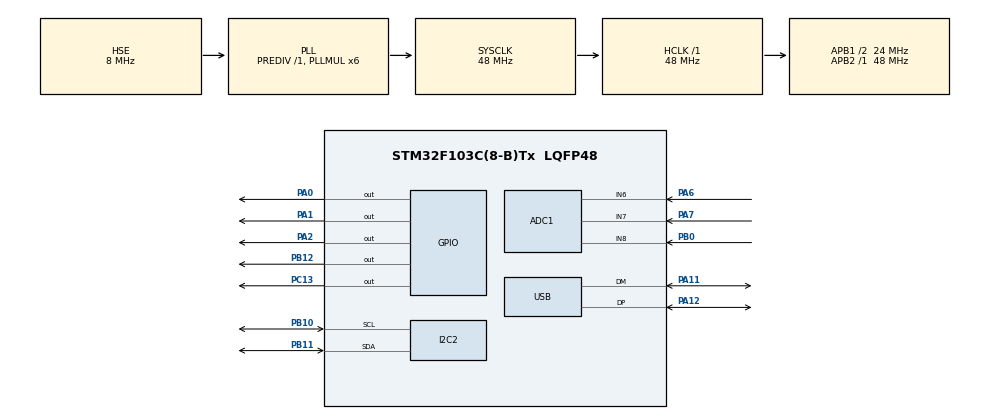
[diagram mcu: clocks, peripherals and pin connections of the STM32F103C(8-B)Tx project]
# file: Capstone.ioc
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ADC1.Channel-0\#ChannelRegularConversion=ADC_CHANNEL_8
ADC1.NbrOfConversionFlag=1
ADC1.Rank-0\#ChannelRegularConversion=1
ADC1.SamplingTime-0\#ChannelRegularConversion=ADC_SAMPLETIME_1CYCLE_5
ADC1.master=1
Mcu.Family=STM32F1
Mcu.Name=STM32F103C(8-B)Tx
Mcu.Package=LQFP48
NVIC.PriorityGroup=NVIC_PRIORITYGROUP_4
NVIC.TIM2_IRQn=true\:0\:0\:false\:false\:true\:true\:true
PA0-WKUP.Signal=GPIO_Output
PA1.Signal=GPIO_Output
PA11.Mode=Device
PA11.Signal=USB_DM
PA12.Mode=Device
PA12.Signal=USB_DP
PA13.Mode=Serial_Wire
PA13.Signal=SYS_JTMS-SWDIO
PA14.Mode=Serial_Wire
PA14.Signal=SYS_JTCK-SWCLK
PA2.Signal=GPIO_Output
PA6.Signal=ADCx_IN6
PA7.Signal=ADCx_IN7
PB0.Signal=ADCx_IN8
PB10.Mode=I2C
PB10.Signal=I2C2_SCL
PB11.Mode=I2C
PB11.Signal=I2C2_SDA
PB12.Signal=GPIO_Output
PC13-TAMPER-RTC.Signal=GPIO_Output
PD0-OSC_IN.Mode=HSE-External-Oscillator
PD0-OSC_IN.Signal=RCC_OSC_IN
PD1-OSC_OUT.Mode=HSE-External-Oscillator
PD1-OSC_OUT.Signal=RCC_OSC_OUT
ProjectManager.HeapSize=0x200
ProjectManager.StackSize=0x400
ProjectManager.TargetToolchain=STM32CubeIDE
RCC.ADCPresc=RCC_ADCPCLK2_DIV4
RCC.AHBFreq_Value=48000000
RCC.APB1CLKDivider=RCC_HCLK_DIV2
RCC.APB1Freq_Value=24000000
RCC.APB1TimFreq_Value=48000000
RCC.APB2Freq_Value=48000000
RCC.APB2TimFreq_Value=48000000
RCC.HCLKFreq_Value=48000000
RCC.PLLMUL=RCC_PLL_MUL6
RCC.SYSCLKFreq_VALUE=48000000
RCC.SYSCLKSource=RCC_SYSCLKSOURCE_PLLCLK
RCC.USBFreq_Value=48000000
SH.ADCx_IN6.0=ADC1_IN6,IN6
SH.ADCx_IN7.0=ADC1_IN7,IN7
SH.ADCx_IN8.0=ADC1_IN8,IN8
TIM2.Period=30000
TIM2.Prescaler=48000-1
VP_TIM2_VS_ClockSourceINT.Mode=Internal
board=custom

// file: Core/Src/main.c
/* USER CODE BEGIN Header */
/**
  ******************************************************************************
  * @file           : main.c
  * @brief          : Main program body
  ******************************************************************************
  * @attention
  *
  * <h2><center>&copy; Copyright (c) 2021 STMicroelectronics.
  * All rights reserved.</center></h2>
  *
  * This software component is licensed by ST under BSD 3-Clause license,
  * the "License"; You may not use this file except in compliance with the
  * License. You may obtain a copy of the License at:
  *                        opensource.org/licenses/BSD-3-Clause
  *
  ******************************************************************************
  */
/* USER CODE END Header */
#include "main.h"

/* USER CODE BEGIN PTD */
typedef enum PHlevels{
	 PH_VeryHigh,
	 PH_High,
	 PH_Good,
	 PH_Low,
	 PH_VeryLow,
}PHlevel;

typedef enum h2oSensors{
	dry,
	wet,
}h2oSensor;

typedef enum PumpM{
	on,
	off,
}MainPump;

typedef enum tempLevels{
	Temp_hot,
	Temp_good,
	Temp_cold,
}tempreture;

typedef enum humidLevels{
	Humid_high,
	Humid_good,
	Humid_low,
}humidity;

typedef enum tdsLevels{
	TDS_Low,
	TDS_Good,
	TDS_High,
}TDSlevel;

/* USER CODE END PTD */

/* USER CODE BEGIN PD */

PHlevel PH;
TDSlevel TDS;
h2oSensor wetness;
tempreture temp;
humidity humid;
TDSlevel TDS;

double setTemp_Level;
double setHumidity_Level;
double setLight_Time;
double setPH_Level;
double setPPM_Level;

double currentPH=20;        //set equal to values that should never be the case to determine if sensors aren't reading
double currentPPM=0;
double currentTemp=0;
double currentHumidity=200;

MainPump state=off;
MainPump pumpa=off;
MainPump pumpb=off;
MainPump pumpc=off;
MainPump pumpd=off;
MainPump light;
int s;
int Tickt;
int min3;

//Tempreture Variables
extern I2C_HandleTypeDef hi2c1;
uint8_t data[3];
uint8_t da[1] = {0xFE};
uint8_t read[2]= {0xE3,0xE5};
uint8_t data1[3];
double tempp;
double hu;
uint16_t sum_temp,sum_humid;
I2C_HandleTypeDef hi2c1;

double enviorment[2];
tempreture tempLevel;
humidity humidLevel;

/* USER CODE END PD */

ADC_HandleTypeDef hadc1;

I2C_HandleTypeDef hi2c2;

TIM_HandleTypeDef htim2;

PCD_HandleTypeDef hpcd_USB_FS;

void SystemClock_Config(void);
static void MX_GPIO_Init(void);
static void MX_ADC1_Init(void);
static void MX_USB_PCD_Init(void);
static void MX_TIM2_Init(void);
static void MX_I2C2_Init(void);
/* USER CODE BEGIN PFP */

double getPH(void);
PHlevel PHtask(double PH_Set);
h2oSensor H2Otask(void);
MainPump PHpumps(void);
MainPump Nutrients(void);
h2oSensor water(void);
void get_TempHumid(void);
tempreture TempTask(double setLevel);
humidity humidTask(double setLevel);
TDSlevel TDStask(double setLevel);

/* USER CODE END PFP */

int main(void)
{

  /* MCU Configuration--------------------------------------------------------*/

  /* Reset of all peripherals, Initializes the Flash interface and the Systick. */
  HAL_Init();

  /* Configure the system clock */
  SystemClock_Config();

  /* Initialize all configured peripherals */
  MX_GPIO_Init();
  MX_ADC1_Init();
  MX_USB_PCD_Init();
  MX_TIM2_Init();
  MX_I2C2_Init();
  /* USER CODE BEGIN 2 */

  HAL_GPIO_WritePin(GPIOA, GPIO_PIN_0,1); //When it starts it turns on Lights
  HAL_GPIO_WritePin(GPIOA, GPIO_PIN_1,1); //When it starts it turns on Lights
  HAL_TIM_Base_Start_IT(&htim2);

  if (HAL_ADC_Start(&hadc1) != HAL_OK)
  {
    /* Calibration Error */
    Error_Handler();
  }

  //preset for tomato plants
  setTemp_Level=73;      //degrees farenheight
  setHumidity_Level=90;  //percent humidity
  setLight_Time=8;       //hours of light
  setPH_Level=6;         //PH
  setPPM_Level=1500;     //Parts per million

  /* USER CODE END 2 */

  /* Infinite loop */
  while (1)
  {

    /* USER CODE BEGIN 3 */

	  wetness=H2Otask();           			 //Checks if Resivoir is full
	  currentPH=getPH();         			 //Gets the PH value
	  PH=PHtask(setPH_Level);     			 //Determines if PH is too High/low
	  PHpumps();                 			 //Pumps to amend PH
//	  water();                    			 //Main pump operation
	  get_TempHumid();            			 //gets tempreture and humidity
	  temp=TempTask(setTemp_Level);          //determines if temp is too high/low
	  humid=humidTask(setHumidity_Level);    //determines if humidity is too high/low
	  TDS=TDStask(setPPM_Level); 			 //determines if TDS (PPM) is too high/low
	  Nutrients();
  }
  /* USER CODE END 3 */
}

void SystemClock_Config(void)
{
  RCC_OscInitTypeDef RCC_OscInitStruct = {0};
  RCC_ClkInitTypeDef RCC_ClkInitStruct = {0};
  RCC_PeriphCLKInitTypeDef PeriphClkInit = {0};

  /** Initializes the RCC Oscillators according to the specified parameters
  * in the RCC_OscInitTypeDef structure.
  */
  RCC_OscInitStruct.OscillatorType = RCC_OSCILLATORTYPE_HSE;
  RCC_OscInitStruct.HSEState = RCC_HSE_ON;
  RCC_OscInitStruct.HSEPredivValue = RCC_HSE_PREDIV_DIV1;
  RCC_OscInitStruct.HSIState = RCC_HSI_ON;
  RCC_OscInitStruct.PLL.PLLState = RCC_PLL_ON;
  RCC_OscInitStruct.PLL.PLLSource = RCC_PLLSOURCE_HSE;
  RCC_OscInitStruct.PLL.PLLMUL = RCC_PLL_MUL6;
  if (HAL_RCC_OscConfig(&RCC_OscInitStruct) != HAL_OK)
  {
    Error_Handler();
  }
  /** Initializes the CPU, AHB and APB buses clocks
  */
  RCC_ClkInitStruct.ClockType = RCC_CLOCKTYPE_HCLK|RCC_CLOCKTYPE_SYSCLK
                              |RCC_CLOCKTYPE_PCLK1|RCC_CLOCKTYPE_PCLK2;
  RCC_ClkInitStruct.SYSCLKSource = RCC_SYSCLKSOURCE_PLLCLK;
  RCC_ClkInitStruct.AHBCLKDivider = RCC_SYSCLK_DIV1;
  RCC_ClkInitStruct.APB1CLKDivider = RCC_HCLK_DIV2;
  RCC_ClkInitStruct.APB2CLKDivider = RCC_HCLK_DIV1;

  if (HAL_RCC_ClockConfig(&RCC_ClkInitStruct, FLASH_LATENCY_1) != HAL_OK)
  {
    Error_Handler();
  }
  PeriphClkInit.PeriphClockSelection = RCC_PERIPHCLK_ADC|RCC_PERIPHCLK_USB;
  PeriphClkInit.AdcClockSelection = RCC_ADCPCLK2_DIV4;
  PeriphClkInit.UsbClockSelection = RCC_USBCLKSOURCE_PLL;
  if (HAL_RCCEx_PeriphCLKConfig(&PeriphClkInit) != HAL_OK)
  {
    Error_Handler();
  }
}

static void MX_ADC1_Init(void)
{

  ADC_ChannelConfTypeDef sConfig = {0};

  /** Common config
  */
  hadc1.Instance = ADC1;
  hadc1.Init.ScanConvMode = ADC_SCAN_DISABLE;
  hadc1.Init.ContinuousConvMode = DISABLE;
  hadc1.Init.DiscontinuousConvMode = DISABLE;
  hadc1.Init.ExternalTrigConv = ADC_SOFTWARE_START;
  hadc1.Init.DataAlign = ADC_DATAALIGN_RIGHT;
  hadc1.Init.NbrOfConversion = 1;
  if (HAL_ADC_Init(&hadc1) != HAL_OK)
  {
    Error_Handler();
  }
  /** Configure Regular Channel
  */
  sConfig.Channel = ADC_CHANNEL_8;
  sConfig.Rank = ADC_REGULAR_RANK_1;
  sConfig.SamplingTime = ADC_SAMPLETIME_1CYCLE_5;
  if (HAL_ADC_ConfigChannel(&hadc1, &sConfig) != HAL_OK)
  {
    Error_Handler();
  }

}

static void MX_I2C2_Init(void)
{

  hi2c2.Instance = I2C2;
  hi2c2.Init.ClockSpeed = 100000;
  hi2c2.Init.DutyCycle = I2C_DUTYCYCLE_2;
  hi2c2.Init.OwnAddress1 = 0;
  hi2c2.Init.AddressingMode = I2C_ADDRESSINGMODE_7BIT;
  hi2c2.Init.DualAddressMode = I2C_DUALADDRESS_DISABLE;
  hi2c2.Init.OwnAddress2 = 0;
  hi2c2.Init.GeneralCallMode = I2C_GENERALCALL_DISABLE;
  hi2c2.Init.NoStretchMode = I2C_NOSTRETCH_DISABLE;
  if (HAL_I2C_Init(&hi2c2) != HAL_OK)
  {
    Error_Handler();
  }

}

static void MX_TIM2_Init(void)
{

  TIM_ClockConfigTypeDef sClockSourceConfig = {0};
  TIM_MasterConfigTypeDef sMasterConfig = {0};

  htim2.Instance = TIM2;
  htim2.Init.Prescaler = 48000-1;
  htim2.Init.CounterMode = TIM_COUNTERMODE_UP;
  htim2.Init.Period = 30000;
  htim2.Init.ClockDivision = TIM_CLOCKDIVISION_DIV1;
  htim2.Init.AutoReloadPreload = TIM_AUTORELOAD_PRELOAD_DISABLE;
  if (HAL_TIM_Base_Init(&htim2) != HAL_OK)
  {
    Error_Handler();
  }
  sClockSourceConfig.ClockSource = TIM_CLOCKSOURCE_INTERNAL;
  if (HAL_TIM_ConfigClockSource(&htim2, &sClockSourceConfig) != HAL_OK)
  {
    Error_Handler();
  }
  sMasterConfig.MasterOutputTrigger = TIM_TRGO_RESET;
  sMasterConfig.MasterSlaveMode = TIM_MASTERSLAVEMODE_DISABLE;
  if (HAL_TIMEx_MasterConfigSynchronization(&htim2, &sMasterConfig) != HAL_OK)
  {
    Error_Handler();
  }

}

static void MX_USB_PCD_Init(void)
{

  hpcd_USB_FS.Instance = USB;
  hpcd_USB_FS.Init.dev_endpoints = 8;
  hpcd_USB_FS.Init.speed = PCD_SPEED_FULL;
  hpcd_USB_FS.Init.low_power_enable = DISABLE;
  hpcd_USB_FS.Init.lpm_enable = DISABLE;
  hpcd_USB_FS.Init.battery_charging_enable = DISABLE;
  if (HAL_PCD_Init(&hpcd_USB_FS) != HAL_OK)
  {
    Error_Handler();
  }

}

static void MX_GPIO_Init(void)
{
  GPIO_InitTypeDef GPIO_InitStruct = {0};

  /* GPIO Ports Clock Enable */
  __HAL_RCC_GPIOC_CLK_ENABLE();
  __HAL_RCC_GPIOD_CLK_ENABLE();
  __HAL_RCC_GPIOA_CLK_ENABLE();
  __HAL_RCC_GPIOB_CLK_ENABLE();

  /*Configure GPIO pin Output Level */
  HAL_GPIO_WritePin(GPIOC, GPIO_PIN_13, GPIO_PIN_RESET);

  /*Configure GPIO pin Output Level */
  HAL_GPIO_WritePin(GPIOA, GPIO_PIN_0|GPIO_PIN_1|GPIO_PIN_2, GPIO_PIN_RESET);

  /*Configure GPIO pin Output Level */
  HAL_GPIO_WritePin(GPIOB, GPIO_PIN_12, GPIO_PIN_RESET);

  /*Configure GPIO pin : PC13 */
  GPIO_InitStruct.Pin = GPIO_PIN_13;
  GPIO_InitStruct.Mode = GPIO_MODE_OUTPUT_PP;
  GPIO_InitStruct.Pull = GPIO_NOPULL;
  GPIO_InitStruct.Speed = GPIO_SPEED_FREQ_LOW;
  HAL_GPIO_Init(GPIOC, &GPIO_InitStruct);

  /*Configure GPIO pins : PA0 PA1 PA2 */
  GPIO_InitStruct.Pin = GPIO_PIN_0|GPIO_PIN_1|GPIO_PIN_2;
  GPIO_InitStruct.Mode = GPIO_MODE_OUTPUT_PP;
  GPIO_InitStruct.Pull = GPIO_NOPULL;
  GPIO_InitStruct.Speed = GPIO_SPEED_FREQ_LOW;
  HAL_GPIO_Init(GPIOA, &GPIO_InitStruct);

  /*Configure GPIO pin : PB12 */
  GPIO_InitStruct.Pin = GPIO_PIN_12;
  GPIO_InitStruct.Mode = GPIO_MODE_OUTPUT_PP;
  GPIO_InitStruct.Pull = GPIO_NOPULL;
  GPIO_InitStruct.Speed = GPIO_SPEED_FREQ_LOW;
  HAL_GPIO_Init(GPIOB, &GPIO_InitStruct);

}

/* USER CODE BEGIN 4 */

double getPH(void){
	double PH=7;
	double Vnormalization=1227;
	double Vadc=0;
	double Vin=0;

	ADC_ChannelConfTypeDef sConfig;
	sConfig.Channel = ADC_CHANNEL_8;      //PIN B0
	sConfig.Rank = ADC_REGULAR_RANK_1;
	sConfig.SamplingTime = ADC_SAMPLETIME_1CYCLE_5;
	HAL_ADC_ConfigChannel(&hadc1, &sConfig);        //Changes the ADC channel to PH sensor

	HAL_ADC_Start(&hadc1);
	HAL_ADC_PollForConversion(&hadc1, 10);
	HAL_Delay(10);  //delay for conversion time, if not it errors
	Vadc=HAL_ADC_GetValue(&hadc1);  //ADC results in a value that isn't directly tied to the voltage
	HAL_ADC_Stop(&hadc1);           //stop adc conversion
	Vin=Vadc/Vnormalization;        //devide the ADC value by the normalization constant to find the Vin, normilization constant found by compairing measured voltage with output
	PH=20.667-5.197*Vin;            //plug Vin into this function to find the PH This function was found by measuring the voltage at known PHs and plotting

	return PH;
}

PHlevel PHtask(double setLevel){
	PHlevel phLevel;
	double PH=7;

	PH=getPH();

	if(PH==setLevel+.25 || PH==setLevel-.25){   //if within .5 PH of chosen value everything is OK
		phLevel=PH_Good;
	}
	else if(PH>setLevel+.25){     //if slightly above the allowed range
		phLevel=PH_High;
	}
	else if(PH>setLevel+1){       //if very far above the allowed range
		phLevel=PH_VeryHigh;
	}
	else if(PH<setLevel-.25){   //if slightly below the allowed range
		phLevel=PH_Low;
	}
	else if(PH<setLevel-1){      //if very far below the allowed range
		phLevel=PH_VeryLow;
	}

	return phLevel;
}

h2oSensor H2Otask(void){
	double sensorInput;
	h2oSensor wetness;

	ADC_ChannelConfTypeDef sConfig;
	sConfig.Channel = ADC_CHANNEL_6;  //PIN A6
	sConfig.Rank = ADC_REGULAR_RANK_1;
	sConfig.SamplingTime = ADC_SAMPLETIME_1CYCLE_5;
	HAL_ADC_ConfigChannel(&hadc1, &sConfig);            //this switches the ADC channel to read the H2O sensor input

	HAL_ADC_Start(&hadc1);
	HAL_ADC_PollForConversion(&hadc1, 10);
	HAL_Delay(10);  //delay for conversion time, if not it errors
	sensorInput=HAL_ADC_GetValue(&hadc1);    //ADC results in a value that isn't directly tied to the voltage
	HAL_ADC_Stop(&hadc1);          //stop adc conversion

	if(sensorInput==0){
		wetness=dry;
	}
	else
		wetness=wet;

	return wetness;
}

void HAL_TIM_PeriodElapsedCallback(TIM_HandleTypeDef *htim){
	if(htim == &htim2){
		if(Tickt == 6){
			Tickt = 0;
			min3++;
		}
		if(min3 == 480){
			min3 = 0;
			HAL_GPIO_WritePin(GPIOA, GPIO_PIN_0,1);
			HAL_GPIO_WritePin(GPIOA, GPIO_PIN_1,1);
			light = on;
		}
		if(Tickt < 1 && state==off){
			HAL_GPIO_WritePin(GPIOA, GPIO_PIN_2,1);
		state = on;
		}
		if(Tickt >= 1 && state==on){
			HAL_GPIO_WritePin(GPIOA, GPIO_PIN_2,0);
		state=off;
		}
		Tickt++;
if(min3 == 160){
	HAL_GPIO_WritePin(GPIOA, GPIO_PIN_0,0);
	HAL_GPIO_WritePin(GPIOA, GPIO_PIN_1,0);
	light = off;
}
	}
}

MainPump PHpumps(void){
	if(PH==PH_Low || PH==PH_VeryLow ){
		HAL_GPIO_WritePin(GPIOB,GPIO_PIN_5,1);
		pumpb=on;
	}
	if(PH==PH_High || PH==PH_VeryHigh){
			HAL_GPIO_WritePin(GPIOB,GPIO_PIN_4,1);
			pumpa=on;
	}
if(PH==PH_Good){
	HAL_GPIO_WritePin(GPIOB,GPIO_PIN_5,0);
	HAL_GPIO_WritePin(GPIOB,GPIO_PIN_4,0);
	pumpb=off;
	pumpa=off;
}
return;
}

/*
h2oSensor water(void){
	if(wetness==dry){
		HAL_GPIO_WritePin(GPIOB,GPIO_PIN_3,1);
		pumpc=on;
	}
	if(wetness==wet){
		HAL_GPIO_WritePin(GPIOB,GPIO_PIN_3,0);
		pumpc=off;
	}
}
*/

MainPump Nutrients(void){
	if(TDS==TDS_Low){
			HAL_GPIO_WritePin(GPIOB,GPIO_PIN_6,1);
			pumpd=on;
		}
	if(TDS==TDS_High){
		HAL_GPIO_WritePin(GPIOB,GPIO_PIN_3,1);
		pumpc=on;
	}
	if(TDS==TDS_Good){
		HAL_GPIO_WritePin(GPIOB,GPIO_PIN_6,0);
		pumpd=off;
		pumpc=off;
	}
return;
}

void get_TempHumid(void){

	// HAL_GPIO_TogglePin(LD2_GPIO_Port,LD2_Pin);
	HAL_I2C_Master_Transmit(&hi2c1,0x80,&read[0],1,100);
	HAL_I2C_Master_Receive(&hi2c1,0x80,data,3,1000);
	sum_temp = (data[0]<<8) | data[1];
	tempp	= sum_temp;
	enviorment[0] = (-46.85 + (175.72*(tempp/65536)));
	HAL_Delay(20);
	HAL_I2C_Master_Transmit(&hi2c1,0x80,&read[1],1,100);
	HAL_I2C_Master_Receive(&hi2c1,0x80,data1,3,1000);
	sum_humid= (data1[0]<<8) | data1[1];
	hu= sum_humid;
	enviorment[1] = (-6+(125*(hu/65536)));
	HAL_Delay(20);
}

tempreture TempTask(double setLevel){
	tempreture relitiveTemp;

	if(enviorment[0]<setLevel-5)
		relitiveTemp=Temp_cold;
	else if(enviorment[0]>setLevel+5){
		relitiveTemp=Temp_hot;
	}
	else
		relitiveTemp=Temp_good;
	return relitiveTemp;
}

humidity humidTask(double setLevel){
	humidity relitiveHumid;

	if(enviorment[1]<setLevel-5){
		relitiveHumid=Humid_low;
	}
	else if(enviorment[1]>setLevel+5){
		relitiveHumid=Humid_high;
	}
	else
		relitiveHumid=Humid_good;

	return relitiveHumid;
}

TDSlevel TDStask(double setLevel){
	double TDS=0;
	double Vnormalization=1227;
	double Vadc=0;
	double Vin=0;
	TDSlevel TDSLevel;

	ADC_ChannelConfTypeDef sConfig;
	sConfig.Channel = ADC_CHANNEL_7;      //PIN A7
	sConfig.Rank = ADC_REGULAR_RANK_1;
	sConfig.SamplingTime = ADC_SAMPLETIME_1CYCLE_5;
	HAL_ADC_ConfigChannel(&hadc1, &sConfig);        //Changes the ADC channel to TDS sensor

	HAL_ADC_Start(&hadc1);
	HAL_ADC_PollForConversion(&hadc1, 10);
	HAL_Delay(10);  //delay for conversion time, if not it errors
	Vadc=HAL_ADC_GetValue(&hadc1);    //ADC results in a value that isn't directly tied to the voltage
	HAL_ADC_Stop(&hadc1);          //stop adc conversion
	Vin=Vadc/Vnormalization;        //devide the ADC value by the normalization constant to find the Vin, normilization constant found by compairing measured voltage with output
	TDS=1026*Vin-589.79;           //Converts Vin to TDS value

	if(TDS==setLevel+100 || TDS==setLevel-.100){   //if within .5 PH of chosen value everything is OK
		TDSLevel=TDS_Good;
	}
	else if(TDS>setLevel+100){     //if slightly above the allowed range
		TDSLevel=TDS_High;
	}
	else if(TDS<setLevel-100){   //if slightly below the allowed range
		TDSLevel=TDS_Low;
	}

	return TDSLevel;
}

/* USER CODE END 4 */

void Error_Handler(void)
{
  /* USER CODE BEGIN Error_Handler_Debug */
  /* User can add his own implementation to report the HAL error return state */
  __disable_irq();
  while (1)
  {
	  HAL_GPIO_WritePin(GPIOB, GPIO_PIN_12, 1);
  }
  /* USER CODE END Error_Handler_Debug */
}

/************************ (C) COPYRIGHT STMicroelectronics *****END OF FILE****/
